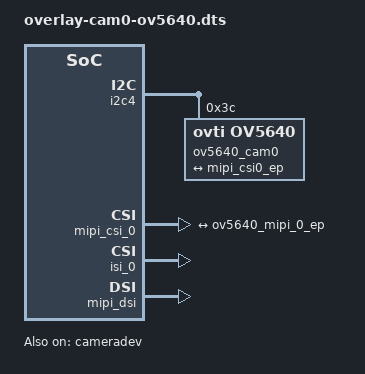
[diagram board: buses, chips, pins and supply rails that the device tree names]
/*
 * Copyright (C) 2022 Avnet Embedded GmbH
 *
 * This program is free software; you can redistribute it and/or
 * modify it under the terms of the GNU General Public License as
 * published by the Free Software Foundation version 2.
 *
 * This program is distributed "as is" WITHOUT ANY WARRANTY of any
 * kind, whether express or implied; without even the implied warranty
 * of MERCHANTABILITY or FITNESS FOR A PARTICULAR PURPOSE.  See the
 * GNU General Public License for more details.
 */

/dts-v1/;
/plugin/;

#include <dt-bindings/clock/imx8mp-clock.h>

/ {
	fragment@3000 {
		target = <&i2c4>;
		__overlay__ {
			#address-cells = <1>;
			#size-cells = <0>;
			ov5640_cam0: ov5640_mipi@3c {
				compatible = "ovti,ov5640";
				reg = <0x3c>;
				clocks = <&clk IMX8MP_CLK_IPP_DO_CLKO2>;
				clock-names = "xclk";
				assigned-clocks = <&clk IMX8MP_CLK_IPP_DO_CLKO2>;
				assigned-clock-parents = <&clk IMX8MP_CLK_24M>;
				assigned-clock-rates = <24000000>;
				csi_id = <0>;
				mclk = <24000000>;
				mclk_source = <0>;
				mipi_csi;
				status = "okay";

				port {
					ov5640_mipi_0_ep: endpoint {
						remote-endpoint = <&mipi_csi0_ep>;
						data-lanes = <1 2>;
						clock-lanes = <0>;
					};
				};
			};
		};
	};

	fragment@3001 {
		target = <&mipi_csi_0>;
		__overlay__ {
			#address-cells = <1>;
			#size-cells = <0>;
			status = "okay";
			port@0 {
				reg = <0>;
				mipi_csi0_ep: endpoint {
					remote-endpoint = <&ov5640_mipi_0_ep>;
					data-lanes = <2>;
					csis-hs-settle = <13>;
					csis-clk-settle = <2>;
					csis-wclk;
				};
			};
		};
	};

	fragment@3002 {
		target = <&cameradev>;
		__overlay__ {
			status = "okay";
		};
	};

	fragment@3003 {
		target = <&isi_0>;
		__overlay__ {
			status = "okay";

			cap_device {
				status = "okay";
			};

			m2m_device {
				status = "okay";
			};
		};
	};

	fragment@3004 {
		target = <&mipi_dsi>;
		__overlay__ {
			status = "okay";
		};
	};
};
